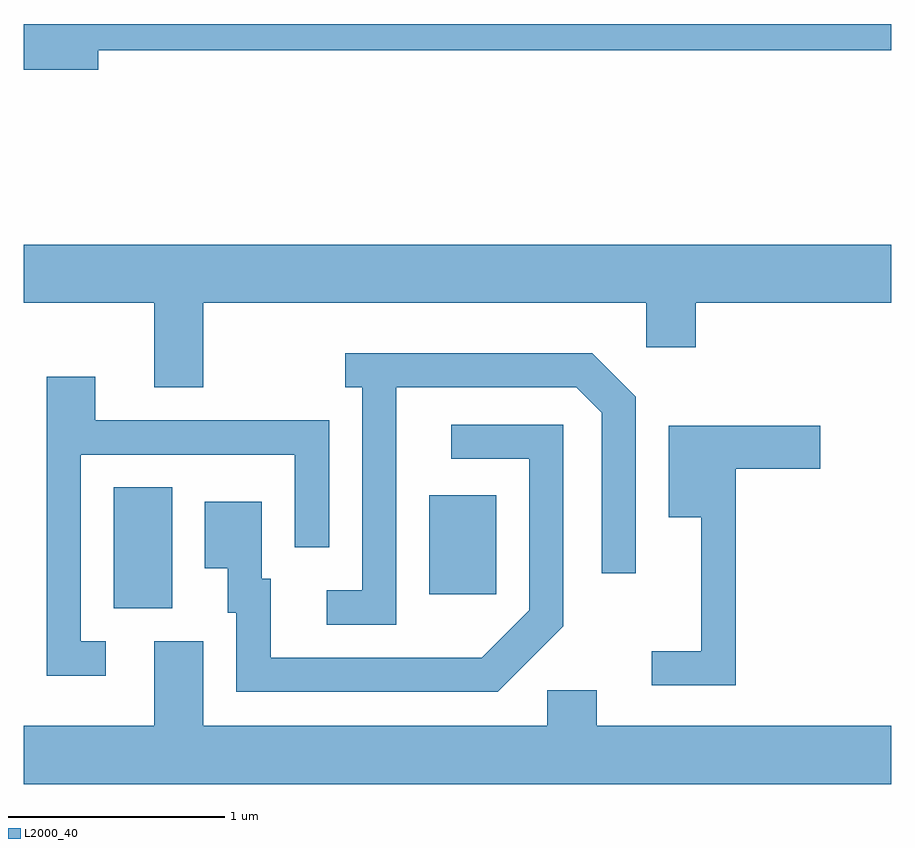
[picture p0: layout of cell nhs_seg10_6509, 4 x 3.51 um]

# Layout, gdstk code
import gdstk
lib = gdstk.Library(unit=1e-6, precision=1e-09)
def R(c, l, rs):  # rectangles x0, y0, x1, y1
    for r in rs: c.add(gdstk.rectangle(r[:2], r[2:], *l))
def P(c, l, *ps):  # polygons
    for p in ps: c.add(gdstk.Polygon(p, *l))
L2000_40 = (2000, 40)

nhs_seg10_6509 = lib.new_cell('nhs_seg10_6509')
R(nhs_seg10_6509, L2000_40, [(378.026,2125.826,378.294,2126.384), (379.481,2125.891,379.789,2126.349)])
P(nhs_seg10_6509, L2000_40, [(377.954,2128.401),(381.611,2128.401),(381.611,2128.522),(377.611,2128.522),(377.611,2128.311),(377.954,2128.311)],
  [(378.439,2127.236),(380.481,2127.236),(380.481,2127.031),(380.709,2127.031),(380.709,2127.236),(381.611,2127.236),(381.611,2127.504),(377.611,2127.504),(377.611,2127.236),(378.211,2127.236),(378.211,2126.846),(378.439,2126.846)],
  [(379.329,2126.846),(380.159,2126.846),(380.276,2126.729),(380.276,2125.988),(380.434,2125.988),(380.434,2126.802),(380.232,2127.004),(379.093,2127.004),(379.093,2126.846),(379.171,2126.846),(379.171,2125.909),(379.008,2125.909),(379.008,2125.751),(379.329,2125.751)],
  [(377.988,2125.674),(377.874,2125.674),(377.874,2126.536),(378.861,2126.536),(378.861,2126.108),(379.019,2126.108),(379.019,2126.694),(377.939,2126.694),(377.939,2126.894),(377.716,2126.894),(377.716,2125.516),(377.988,2125.516)],
  [(380.099,2125.744),(380.099,2126.674),(379.583,2126.674),(379.583,2126.516),(379.941,2126.516),(379.941,2125.817),(379.724,2125.599),(378.749,2125.599),(378.749,2125.964),(378.709,2125.964),(378.709,2126.319),(378.446,2126.319),(378.446,2126.011),(378.551,2126.011),(378.551,2125.806),(378.591,2125.806),(378.591,2125.441),(379.797,2125.441)],
  [(380.894,2126.471),(381.284,2126.471),(381.284,2126.669),(380.586,2126.669),(380.586,2126.246),(380.736,2126.246),(380.736,2125.629),(380.508,2125.629),(380.508,2125.471),(380.894,2125.471)],
  [(381.611,2125.284),(380.254,2125.284),(380.254,2125.449),(380.026,2125.449),(380.026,2125.284),(378.439,2125.284),(378.439,2125.674),(378.211,2125.674),(378.211,2125.284),(377.611,2125.284),(377.611,2125.016),(381.611,2125.016)])

lib.write_gds('nhs_seg10_6509.gds')
